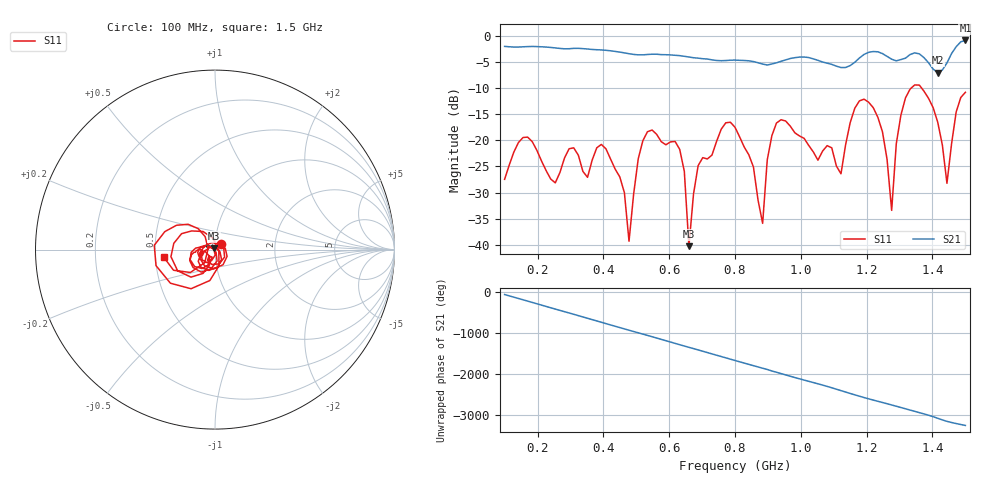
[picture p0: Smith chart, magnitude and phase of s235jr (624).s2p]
! NanoVNA-App
! Date: 2025-09-25 15:09:01
! Start: 100MHz Stop: 1,5GHz Points: 101
! S-Parameter data: F S11 S21 S12 S22
# Hz S RI R 50
!  Frequency  S11_Real  S11_Imag  S21_Real  S21_Imag  S12_Real  S12_Imag  S22_Real  S22_Imag
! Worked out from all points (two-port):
!   101 points, 100 MHz to 1.5 GHz, reference 50 ohm
!   highest |S21| = -0.82 dB at 1.5 GHz (marker M1); lowest = -7.0 dB at 1.416 GHz (marker M2)
!   |S21| within 3 dB of the highest: start of sweep to 641.8 MHz; 1.186 GHz to 1.261 GHz (75.05 MHz wide, 6.14 % of centre) (the widest 2 of 4)
!   lowest |S11| = -40.3 dB at 660 MHz (marker M3), VSWR 1.02, Z = 49.3 + j0.631 ohm
!   |S11| at or under -10 dB: start of sweep to 1.335 GHz; 1.367 GHz to end of sweep
!   S12 and S22 are empty: the file has one direction only
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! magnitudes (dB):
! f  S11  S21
! 100 MHz  -27.5  -2.0
! 156 MHz  -19.4  -2.0
! 338 MHz  -26.0  -2.4
! 408 MHz  -21.6  -2.7
! 478 MHz  -39.4  -3.4
! 520 MHz  -20.1  -3.6
! 576 MHz  -20.3  -3.5
! 632 MHz  -21.7  -3.7
! 660 MHz  -40.3  -4.0
! 688 MHz  -24.8  -4.2
! 800 MHz  -17.5  -4.6
! 884 MHz  -35.9  -5.4
! 926 MHz  -16.7  -5.1
! 1.038 GHz  -22.2  -4.4
! 1.122 GHz  -26.4  -6.0
! 1.206 GHz  -12.7  -3.1
! 1.276 GHz  -33.4  -4.4
! 1.29 GHz  -20.7  -4.7
! 1.332 GHz  -10.1  -3.5
! 1.416 GHz  -16.5  -7.0
! 1.444 GHz  -28.2  -5.1
! 1.5 GHz  -10.8  -0.8
